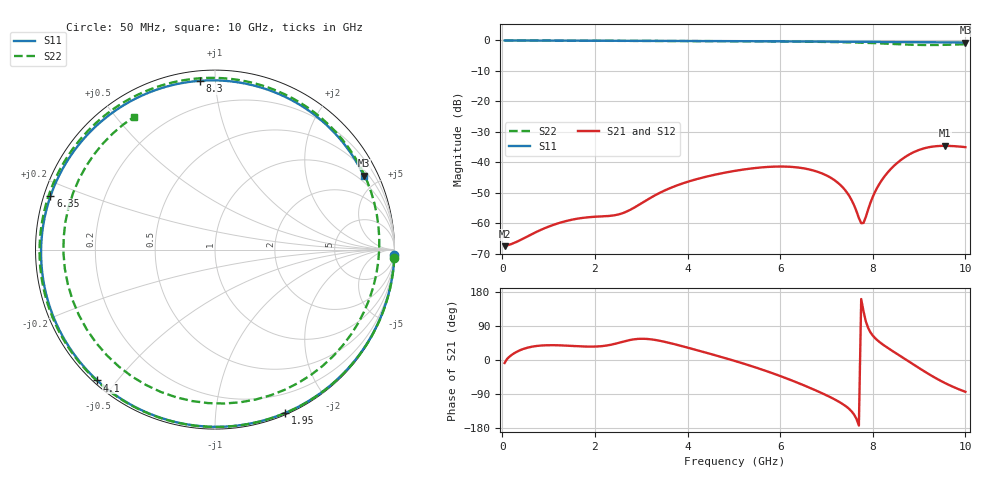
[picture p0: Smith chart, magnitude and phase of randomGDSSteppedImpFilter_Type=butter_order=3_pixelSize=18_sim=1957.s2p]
! freq	dB(S11)	phase(S11)	dB(S12)	phase(S12)
!  dB(S21)	phase(S21)	dB(S22)	phase(S22)
!S-par simulation data
#  GHz  S  DB  R 50
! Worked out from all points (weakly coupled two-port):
!   200 points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, 50 MHz to 10 GHz, reference 50 ohm
!   highest |S21| = -34.54 dB at 9.55 GHz (marker M1); lowest = -67.4 dB at 50 MHz (marker M2)
!   lowest |S11| = -0.7 dB at 10 GHz (marker M3), VSWR 25.75, Z = 36.1 + j207 ohm
!   |S11| at or under -10 dB: nowhere
!   |S22| runs from -1.5 to 0.0 dB; largest |S21 - S12| = 0
!   S11 on the Smith chart (normalised r, x): 50 MHz: 0, -64; 1.95 GHz: 0.02, -1.52; 4.1 GHz: 0.01, -0.45; 6.35 GHz: 0.02, +0.16; 8.3 GHz: 0.05, +0.91; 10 GHz: 0.72, +4.13
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0.05  -0.00 -1.8  -67.44 -7.9  -67.44 -7.9  -0.00 -2.6
0.95  -0.04 -33.3  -61.33 38.9  -61.33 38.9  -0.05 -48.9
1.75  -0.07 -60.2  -58.13 35.7  -58.13 35.7  -0.10 -86.3
1.95  -0.08 -66.7  -57.84 35.3  -57.84 35.3  -0.11 -95.0
2.6  -0.11 -87.3  -56.61 48.1  -56.61 48.1  -0.13 -121.6
3.4  -0.14 -111.5  -49.96 50.7  -49.96 50.7  -0.16 -151.6
4.1  -0.17 -132.0  -45.88 29.4  -45.88 29.4  -0.19 -176.7
5.05  -0.22 -159.3  -42.68 -3.5  -42.68 -3.5  -0.25 148.8
5.75  -0.27 -179.8  -41.44 -31.2  -41.44 -31.2  -0.31 121.2
6.35  -0.32 162.0  -41.59 -58.7  -41.59 -58.7  -0.37 94.4
6.7  -0.35 151.0  -42.55 -76.5  -42.55 -76.5  -0.42 76.7
7.35  -0.41 129.5  -48.14 -116.2  -48.14 -116.2  -0.57 37.8
7.75  -0.45 115.4  -59.91 160.9  -59.91 160.9  -0.72 8.3
7.8  -0.45 113.6  -59.82 128.5  -59.82 128.5  -0.75 4.2
8.05  -0.48 104.4  -49.60 57.7  -49.60 57.7  -0.88 -17.6
8.3  -0.50 95.0  -43.67 33.8  -43.67 33.8  -1.05 -42.0
8.35  -0.50 93.1  -42.79 29.8  -42.79 29.8  -1.08 -47.2
8.65  -0.53 81.5  -38.71 6.2  -38.71 6.2  -1.29 -80.6
8.9  -0.56 71.5  -36.51 -13.5  -36.51 -13.5  -1.43 -110.8
9.25  -0.59 57.4  -34.89 -40.2  -34.89 -40.2  -1.50 -154.4
9.55  -0.62 45.0  -34.54 -60.3  -34.54 -60.3  -1.44 169.6
10  -0.68 26.5  -34.98 -83.9  -34.98 -83.9  -1.25 121.4
